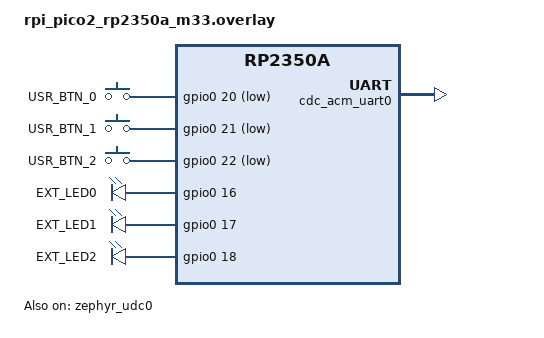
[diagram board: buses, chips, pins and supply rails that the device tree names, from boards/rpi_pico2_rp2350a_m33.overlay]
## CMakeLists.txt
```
cmake_minimum_required(VERSION 3.20.0)

find_package(Zephyr REQUIRED HINTS $ENV{ZEPHYR_BASE})
project(base_station_test)

target_sources(app PRIVATE
    src/test_main.c
    ../../base_station/src/base_station.c
    ../../coms/coms.c
    ../../base_station/drivers/sensor_node/sensor_node.c
)

target_include_directories(app PRIVATE
    ../../include
    ../../base_station
)
```

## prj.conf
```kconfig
CONFIG_ZTEST=y
CONFIG_TEST=y
CONFIG_POLL=y
CONFIG_SENSOR=y
CONFIG_GPIO=y
CONFIG_I2C=y
CONFIG_ADC=y
CONFIG_SERIAL=y

CONFIG_CONSOLE=y
CONFIG_UART_CONSOLE=y
CONFIG_PRINTK=y
CONFIG_STDOUT_CONSOLE=y

CONFIG_USB_DEVICE_STACK_NEXT=y
CONFIG_USBD_CDC_ACM_CLASS=y
CONFIG_CDC_ACM_SERIAL_INITIALIZE_AT_BOOT=y
CONFIG_ZTEST=y
CONFIG_ZTEST_VERBOSE_SUMMARY=y
```

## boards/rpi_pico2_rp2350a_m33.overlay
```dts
/ {
    chosen {
        zephyr,console = &cdc_acm_uart0;
    };
};

&zephyr_udc0 {
    status = "okay";

    cdc_acm_uart0: cdc_acm_uart0 {
        compatible = "zephyr,cdc-acm-uart";
    };
};

/ {
    keys {
        compatible = "gpio-keys";
        button0: button_0 {
            gpios = <&gpio0 20 (GPIO_PULL_UP | GPIO_ACTIVE_LOW)>;
            label = "USR_BTN_0";
        };
        button1: button_1 {
            gpios = <&gpio0 21 (GPIO_PULL_UP | GPIO_ACTIVE_LOW)>;
            label = "USR_BTN_1";
        };
        button2: button_2 {
            gpios = <&gpio0 22 (GPIO_PULL_UP | GPIO_ACTIVE_LOW)>;
            label = "USR_BTN_2";
        };
    };

    leds {
        compatible = "gpio-leds";
        led0: led_0 {
            gpios = <&gpio0 16 GPIO_ACTIVE_HIGH>;
            label = "EXT_LED0";
        };

        led1: led_1 {
            gpios = <&gpio0 17 GPIO_ACTIVE_HIGH>;
            label = "EXT_LED1";
        };

        led2: led_2 {
            gpios = <&gpio0 18 GPIO_ACTIVE_HIGH>;
            label = "EXT_LED2";
        };
    };

    aliases {
        button0 = &button0;
        button1 = &button1;
        button2 = &button2;
        led0 = &led0;
        led1 = &led1;
        led2 = &led2;
    };
};
```

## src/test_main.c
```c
#include <zephyr/ztest.h>
#include <zephyr/kernel.h>
#include <zephyr/sys/printk.h>
#include "../../../include/coms.h"
#include "../../../include/base_station.h"

extern base_station_t bs;
extern struct k_msgq event_queue;

ZTEST(base_station_suite, test_sensitivity_to_str_valid)
{
    zassert_str_equal(sensitivity_to_str(0), "LOW");
    zassert_str_equal(sensitivity_to_str(1), "MEDIUM");
    zassert_str_equal(sensitivity_to_str(2), "HIGH");
}

ZTEST(base_station_suite, test_sensitivity_to_str_invalid)
{
    zassert_str_equal(sensitivity_to_str(99), "UNKNOWN");
}

ZTEST(base_station_suite, test_packet_type_to_str_valid)
{
    zassert_str_equal(packet_type_to_str(REQUEST), "REQUEST");
    zassert_str_equal(packet_type_to_str(RESPONSE), "RESPONSE");
    zassert_str_equal(packet_type_to_str(EMERGENCY), "EMERGENCY");
    zassert_str_equal(packet_type_to_str(EMERGENCY_ACK), "EMERGENCY_ACK");
    zassert_str_equal(packet_type_to_str(READY), "READY");
}

ZTEST(base_station_suite, test_packet_type_to_str_invalid)
{
    zassert_str_equal(packet_type_to_str(0xFF), "UNKNOWN");
}

ZTEST(base_station_suite, test_get_next_state_boot_complete)
{
    zassert_equal(get_next_state(BOOT, BOOT_COMPLETE), NORMAL);
}

ZTEST(base_station_suite, test_get_next_state_normal_anomaly)
{
    zassert_equal(get_next_state(NORMAL, ANOMALY_DETECTED), ALERT);
}

ZTEST(base_station_suite, test_get_next_state_normal_reset)
{
    zassert_equal(get_next_state(NORMAL, RESET_PRESSED), BOOT);
}

ZTEST(base_station_suite, test_get_next_state_normal_error)
{
    zassert_equal(get_next_state(NORMAL, ERROR_OCCURRED), ERROR);
}

ZTEST(base_station_suite, test_get_next_state_alert_clear)
{
    zassert_equal(get_next_state(ALERT, ANOMALY_CLEARED), NORMAL);
}

ZTEST(base_station_suite, test_get_next_state_alert_reset)
{
    zassert_equal(get_next_state(ALERT, RESET_PRESSED), BOOT);
}

ZTEST(base_station_suite, test_get_next_state_alert_error)
{
    zassert_equal(get_next_state(ALERT, ERROR_OCCURRED), ERROR);
}

ZTEST(base_station_suite, test_get_next_state_error_reset)
{
    zassert_equal(get_next_state(ERROR, RESET_PRESSED), BOOT);
}

ZTEST(base_station_suite, test_get_next_state_ignored_event_stays_same)
{
    zassert_equal(get_next_state(NORMAL, SENS_PRESSED), NORMAL);
    zassert_equal(get_next_state(BOOT, RESET_PRESSED), BOOT);
    zassert_equal(get_next_state(ERROR, ANOMALY_DETECTED), ERROR);
}

ZTEST(base_station_suite, test_update_sensor_values_basic)
{
    sensor_reading_t readings = {0};

    struct sensor_value dist = { .val1 = 100, .val2 = 0 };
    struct sensor_value force = { .val1 = 200, .val2 = 0 };
    struct sensor_value ax = { .val1 = 1, .val2 = 0 };
    struct sensor_value ay = { .val1 = 2, .val2 = 0 };
    struct sensor_value az = { .val1 = 3, .val2 = 0 };

    update_sensor_values(&readings, &dist, &force, &ax, &ay, &az);

    zassert_equal(readings.dist, 100);
    zassert_equal(readings.force, 200);
    zassert_equal(readings.accel_x, 1);
    zassert_equal(readings.accel_y, 2);
    zassert_equal(readings.accel_z, 3);
}

ZTEST(base_station_suite, test_update_sensor_values_negative)
{
    sensor_reading_t readings = {0};

    struct sensor_value dist = { .val1 = -10, .val2 = 0 };
    struct sensor_value force = { .val1 = -20, .val2 = 0 };
    struct sensor_value ax = { .val1 = -1, .val2 = 0 };
    struct sensor_value ay = { .val1 = -2, .val2 = 0 };
    struct sensor_value az = { .val1 = -3, .val2 = 0 };

    update_sensor_values(&readings, &dist, &force, &ax, &ay, &az);

    zassert_equal(readings.dist, -10);
    zassert_equal(readings.force, -20);
    zassert_equal(readings.accel_x, -1);
    zassert_equal(readings.accel_y, -2);
    zassert_equal(readings.accel_z, -3);
}

ZTEST(base_station_suite, test_process_packet_emergency_sets_emergency)
{
    bs = (base_station_t){0};
    k_msgq_purge(&event_queue);

    packet_t pkt = {
        .type = EMERGENCY,
        .data = NULL,
        .data_len = 0,
    };

    bs.emergency = false;

    process_packet(&pkt);

    zassert_true(bs.emergency);
}

ZTEST(base_station_suite, test_process_packet_ready_clears_emergency)
{
    bs = (base_station_t){0};
    k_msgq_purge(&event_queue);

    packet_t pkt = {
        .type = READY,
        .data = NULL,
        .data_len = 0,
    };

    bs.emergency = true;

    process_packet(&pkt);

    zassert_false(bs.emergency);
}

ZTEST(base_station_suite, test_process_packet_response_wrong_size_no_crash)
{
    bs = (base_station_t){0};
    k_msgq_purge(&event_queue);

    uint8_t bad_payload[3] = {1, 2, 3};

    packet_t pkt = {
        .type = RESPONSE,
        .data = bad_payload,
        .data_len = sizeof(bad_payload),
    };

    bs.emergency = false;

    process_packet(&pkt);

    zassert_true(true);
}

ZTEST(base_station_suite, test_packet_build)
{
    bs = (base_station_t){0};
    k_msgq_purge(&event_queue);

    packet_t *pkt = build_packet(1, NULL, 0);

    zassert_not_null(pkt, "packet should not be NULL");

    destroy_packet(pkt);
}

ZTEST(base_station_suite, test_process_packet_emergency_enqueues_anomaly_detected)
{
    packet_t pkt = { .type = EMERGENCY, .data = NULL, .data_len = 0 };
    base_station_event_t ev;

    bs.emergency = false;
    k_msgq_purge(&event_queue);

    process_packet(&pkt);

    zassert_equal(k_msgq_get(&event_queue, &ev, K_NO_WAIT), 0);
    zassert_equal(ev, ANOMALY_DETECTED);
}

ZTEST(base_station_suite, test_process_packet_ready_enqueues_anomaly_cleared)
{
    packet_t pkt = { .type = READY, .data = NULL, .data_len = 0 };
    base_station_event_t ev;

    bs.emergency = true;
    k_msgq_purge(&event_queue);

    process_packet(&pkt);

    zassert_equal(k_msgq_get(&event_queue, &ev, K_NO_WAIT), 0);
    zassert_equal(ev, ANOMALY_CLEARED);
}

ZTEST(base_station_suite, test_reset_isr_enqueues_reset_pressed)
{
    base_station_event_t ev;

    k_msgq_purge(&event_queue);

    reset_btn_isr(NULL, NULL, 0);

    zassert_equal(k_msgq_get(&event_queue, &ev, K_NO_WAIT), 0);
    zassert_equal(ev, RESET_PRESSED);
}

ZTEST(base_station_suite, test_cycle_sensitivity_full_rotation)
{
    base_station_t bs = {0};

    bs.sensitivity = LOW;

    cycle_sensitivity(&bs);
    zassert_equal(bs.sensitivity, MEDIUM);

    cycle_sensitivity(&bs);
    zassert_equal(bs.sensitivity, HIGH);

    cycle_sensitivity(&bs);
    zassert_equal(bs.sensitivity, LOW);
}

ZTEST(base_station_suite, test_sens_isr_enqueues_sens_pressed)
{
    base_station_event_t ev;

    k_msgq_purge(&event_queue);

    sens_btn_isr(NULL, NULL, 0);

    zassert_equal(k_msgq_get(&event_queue, &ev, K_NO_WAIT), 0);
    zassert_equal(ev, SENS_PRESSED);
}

ZTEST(base_station_suite, test_process_packet_ignores_non_ready_during_emergency)
{
    packet_t pkt = { .type = RESPONSE, .data = NULL, .data_len = 0 };

    bs.emergency = true;
    k_msgq_purge(&event_queue);

    process_packet(&pkt);

    zassert_true(bs.emergency);
    zassert_not_equal(k_msgq_get(&event_queue, &(base_station_event_t){0}, K_NO_WAIT), 0);
}

static void *suite_setup(void)
{
    k_sleep(K_SECONDS(3));
    return NULL;
}

ZTEST_SUITE(base_station_suite, NULL, suite_setup, NULL, NULL, NULL);
```
